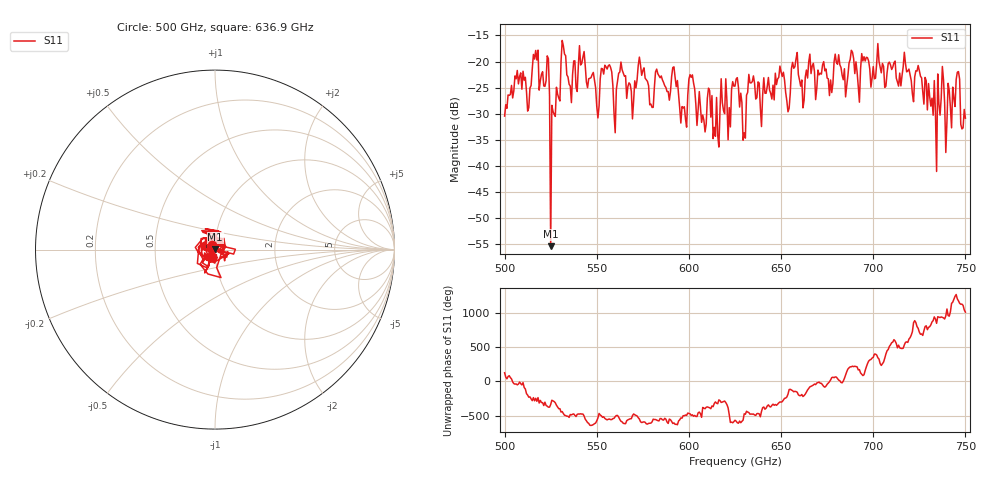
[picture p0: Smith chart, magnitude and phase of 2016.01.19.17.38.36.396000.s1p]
!Created with skrf (http://scikit-rf.org).
# GHz S RI R 50.0
!freq ReS11 ImS11
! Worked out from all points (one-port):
!   401 points, 500 GHz to 750 GHz, reference 50 ohm
!   lowest |S11| = -55.3 dB at 525 GHz (marker M1), VSWR 1.00, Z = 50.2 + j0.0731 ohm
!   |S11| at or under -10 dB: start of sweep to end of sweep
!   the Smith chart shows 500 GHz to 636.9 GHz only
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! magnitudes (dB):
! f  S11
! 500 GHz  -30.4
! 506.9 GHz  -21.7
! 513.1 GHz  -28.8
! 516.9 GHz  -17.9
! 523.1 GHz  -18.9
! 525 GHz  -55.3
! 526.2 GHz  -29.5
! 531.2 GHz  -16.0
! 535.6 GHz  -24.7
! 541.9 GHz  -20.3
! 550 GHz  -28.6
! 560 GHz  -33.6
! 562.5 GHz  -22.0
! 593.8 GHz  -23.6
! 597.5 GHz  -28.6
! 601.2 GHz  -23.0
! 615 GHz  -26.9
! 625 GHz  -24.7
! 630 GHz  -33.6
! 633.8 GHz  -24.1
! 650.6 GHz  -22.8
! 653.8 GHz  -29.6
! 656.2 GHz  -20.2
! 687.5 GHz  -19.6
! 718.8 GHz  -21.8
! 733.1 GHz  -23.6
! 745.6 GHz  -22.0
! 750 GHz  -30.8
